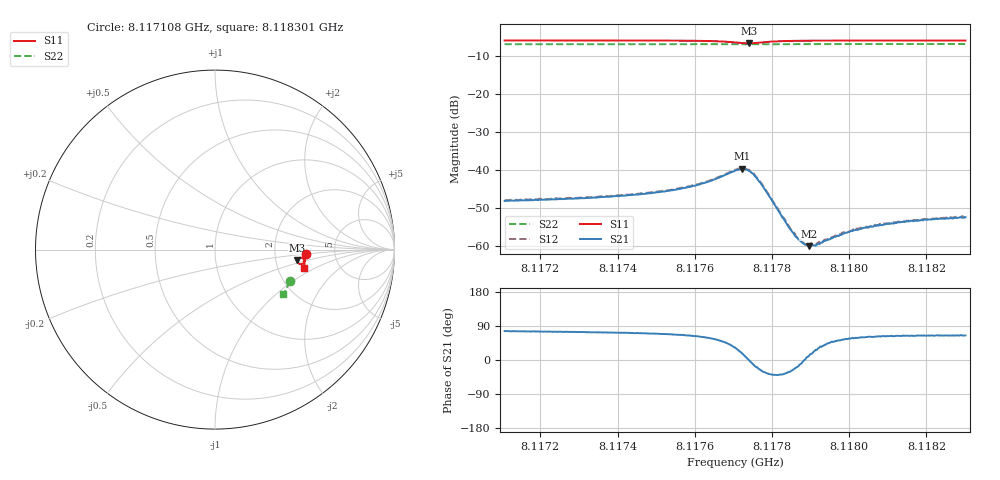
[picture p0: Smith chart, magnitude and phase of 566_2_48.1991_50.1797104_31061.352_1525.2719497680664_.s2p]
#  HZ  S  RI  R  50.00
! Rohde & Schwarz Vector Network Analyzer
! Rohde-Schwarz,ZNB20-2Port,1311601062101988,3.16
! Created: UTC 3/20/2024, 12:01:23 PM
! freq[Hz]  re:S11  im:S11  re:S21  im:S21  re:S12  im:S12  re:S22  im:S22
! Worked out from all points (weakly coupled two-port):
!   401 points, 8.117108 GHz to 8.118301 GHz, reference 50 ohm
!   highest |S21| = -39.71 dB at 8.117722 GHz (marker M1); lowest = -60.1 dB at 8.117895 GHz (marker M2)
!   lowest |S11| = -6.7 dB at 8.11774 GHz (marker M3), VSWR 2.73, Z = 133 - j20.1 ohm
!   |S11| at or under -10 dB: nowhere
!   |S22| runs from -6.9 to -6.8 dB; largest |S21 - S12| = 0.00042
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8.1171076e9  0.506 -0.0238  0.000923 0.0038  0.000992 0.00382  0.4161 -0.1756
8.1173075e9  0.5045 -0.04  0.00118 0.00407  0.00128 0.00414  0.411 -0.1886
8.1175074e9  0.5011 -0.0585  0.00182 0.00477  0.00189 0.00487  0.4054 -0.2016
8.1176118e9  0.4954 -0.0713  0.00303 0.00566  0.0031 0.00572  0.402 -0.2084
8.1176476e9  0.4904 -0.0768  0.00414 0.0061  0.00426 0.00618  0.4008 -0.2108
8.1177043e9  0.4706 -0.0798  0.00819 0.00536  0.00841 0.00535  0.3982 -0.214
8.1177222e9  0.4619 -0.0727  0.00983 0.0032  0.00994 0.00319  0.3974 -0.2147
8.1177401e9  0.4595 -0.0593  0.00971 -6.87e-06  0.0101 -4.28e-06  0.3969 -0.2152
8.117755e9  0.4651 -0.0495  0.00807 -0.00213  0.00836 -0.00217  0.3969 -0.2157
8.1177699e9  0.4741 -0.0451  0.00611 -0.00298  0.0062 -0.00312  0.3967 -0.2163
8.1178445e9  0.4958 -0.057  0.00147 -0.000904  0.00153 -0.000935  0.3955 -0.2217
8.1178565e9  0.4968 -0.0591  0.00132 -0.000595  0.00136 -0.000635  0.395 -0.2226
8.1178684e9  0.4976 -0.0611  0.00117 -0.000344  0.0012 -0.000328  0.3948 -0.2233
8.1178803e9  0.498 -0.0631  0.00109 -7.17e-05  0.0011 -7.92e-05  0.3944 -0.2241
8.1178952e9  0.4984 -0.0654  0.000973 0.000181  0.000998 0.000215  0.394 -0.225
8.1179042e9  0.4987 -0.0667  0.000969 0.0003  0.000998 0.000311  0.3936 -0.2256
8.1179191e9  0.4988 -0.0687  0.000923 0.00054  0.000961 0.000522  0.3931 -0.2266
8.1179877e9  0.4988 -0.0766  0.000858 0.00118  0.000883 0.00121  0.3908 -0.2309
8.1180384e9  0.4985 -0.0817  0.00087 0.00149  0.00088 0.00155  0.3891 -0.2341
8.1181041e9  0.4975 -0.0877  0.000887 0.00176  0.000908 0.00174  0.3869 -0.2383
8.1182115e9  0.4962 -0.0969  0.000936 0.00201  0.000996 0.00206  0.3832 -0.2449
8.118301e9  0.4947 -0.104  0.00102 0.00216  0.001 0.00218  0.38 -0.2501
